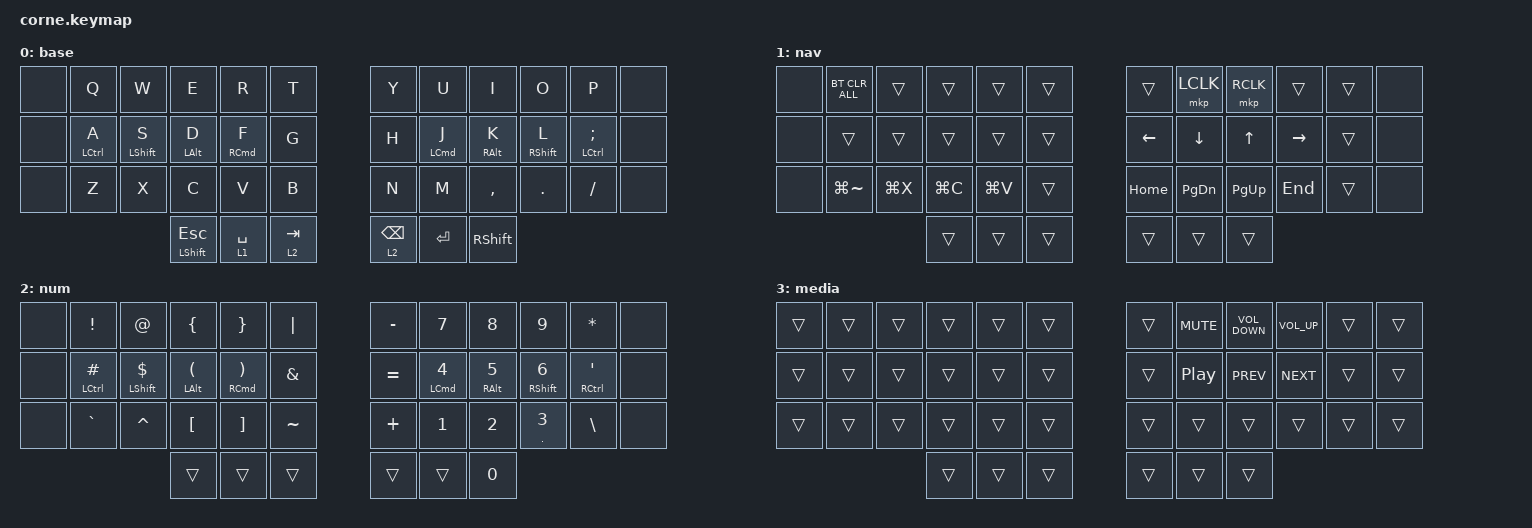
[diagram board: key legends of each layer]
/*
 * Copyright (c) 2020 The ZMK Contributors
 *
 * SPDX-License-Identifier: MIT
 */

#include <dt-bindings/zmk/mouse.h>
#include <behaviors.dtsi>
#include <dt-bindings/zmk/bt.h>
#include <dt-bindings/zmk/keys.h>
#include <dt-bindings/zmk/pointing.h>

&mt {
    flavor = "tap-preferred";
    tapping_term_ms = <200>;
};

&mmv {
    time-to-max-speed-ms = <680>;
    acceleration-exponent = <2>;
};

/ {
    behaviors {
        hmr: hmr {
            compatible = "zmk,behavior-hold-tap";
            label = "HMR";
            bindings = <&kp>, <&kp>;

            #binding-cells = <2>;
            tapping-term-ms = <280>;
            quick-tap-ms = <175>;
            flavor = "balanced";
            hold-trigger-on-release;
            hold-trigger-key-positions = <0 1 2 3 4 5 12 13 14 15 16 17 24 25 26 27 28 29 36 37 38 39 40 41>;
            require-prior-idle-ms = <150>;
        };

        hml: hml {
            compatible = "zmk,behavior-hold-tap";
            label = "HML";
            bindings = <&kp>, <&kp>;

            #binding-cells = <2>;
            tapping-term-ms = <280>;
            quick-tap-ms = <175>;
            flavor = "balanced";
            hold-trigger-on-release;
            hold-trigger-key-positions = <6 7 8 9 10 11 18 19 20 21 22 23 30 31 32 33 34 35 39 40 41 38 37 36>;
            require-prior-idle-ms = <150>;
        };
    };

    combos {
        compatible = "zmk,combos";

        caps-combo {
            bindings = <&caps_word>;
            key-positions = <16 19>;
        };

        kp_ {
            bindings = <&kp UNDERSCORE>;
            key-positions = <29 30>;
            layers = <2>;
        };
    };

    keymap {
        compatible = "zmk,keymap";

        base {
            // -----------------------------------------------------------------------------------------
            // |  TAB |  Q  |  W  |  E  |  R  |  T  |   |  Y  |  U   |  I  |  O  |  P  | BKSP |
            // | CTRL |  A  |  S  |  D  |  F  |  G  |   |  H  |  J   |  K  |  L  |  ;  |  '   |
            // | SHFT |  Z  |  X  |  C  |  V  |  B  |   |  N  |  M   |  ,  |  .  |  /  | ESC  |
            //                    | GUI | LWR | SPC |   | ENT | RSE  | ALT |

            bindings = <
&none  &kp Q                &kp W              &kp E                  &kp R                 &kp T        &kp Y            &kp U                &kp I             &kp O               &kp P                        &none
&none  &hml LEFT_CONTROL A  &hml LEFT_SHIFT S  &hml LEFT_ALT D        &hml RIGHT_COMMAND F  &kp G        &kp H            &hmr LEFT_COMMAND J  &hmr RIGHT_ALT K  &hmr RIGHT_SHIFT L  &hmr LEFT_CONTROL SEMICOLON  &none
&none  &kp Z                &kp X              &kp C                  &kp V                 &kp B        &kp N            &kp M                &kp COMMA         &kp DOT             &kp FSLH                     &none
                                               &mt LEFT_SHIFT ESCAPE  &lt 1 SPACE           &lt 2 TAB    &lt 2 BACKSPACE  &kp ENTER            &kp RIGHT_SHIFT
            >;
        };

        nav {
            // -----------------------------------------------------------------------------------------
            // |  TAB |  1  |  2  |  3  |  4  |  5  |   |  6  |  7  |  8  |  9  |  0  | BKSP |
            // | BTCLR| BT1 | BT2 | BT3 | BT4 | BT5 |   | LFT | DWN |  UP | RGT |     |      |
            // | SHFT |     |     |     |     |     |   |     |     |     |     |     |      |
            //                    | GUI |     | SPC |   | ENT |     | ALT |

            bindings = <
&none  &bt BT_CLR_ALL  &trans     &trans     &trans     &trans    &trans    &mkp LCLK      &mkp RCLK    &trans     &trans  &none
&none  &trans          &trans     &trans     &trans     &trans    &kp LEFT  &kp DOWN       &kp UP       &kp RIGHT  &trans  &none
&none  &kp LG(TILDE)   &kp LG(X)  &kp LG(C)  &kp LG(V)  &trans    &kp HOME  &kp PAGE_DOWN  &kp PAGE_UP  &kp END    &trans  &none
                                  &trans     &trans     &trans    &trans    &trans         &trans
            >;
        };

        num {
            // -----------------------------------------------------------------------------------------
            // |  TAB |  !  |  @  |  #  |  $  |  %  |   |  ^  |  &  |  *  |  (  |  )  | BKSP |
            // | CTRL |     |     |     |     |     |   |  -  |  =  |  [  |  ]  |  \  |  `   |
            // | SHFT |     |     |     |     |     |   |  _  |  +  |  {  |  }  | "|" |  ~   |
            //                    | GUI |     | SPC |   | ENT |     | ALT |

            bindings = <
&none  &kp EXCL                &kp AT              &kp LEFT_BRACE                  &kp RIGHT_BRACE          &kp PIPE         &kp MINUS  &kp N7                &kp N8             &kp N9          &kp ASTERISK            &none
&none  &hml LEFT_CONTROL HASH  &hml LSHIFT DOLLAR  &hml LEFT_ALT LEFT_PARENTHESIS  &hml RIGHT_COMMAND RPAR  &kp AMPERSAND    &kp EQUAL  &hml LEFT_COMMAND N4  &hml RIGHT_ALT N5  &hml RSHIFT N6  &hml RIGHT_CONTROL SQT  &none
&none  &kp GRAVE               &kp CARET           &kp LBKT                        &kp RBKT                 &kp TILDE        &kp PLUS   &kp NUMBER_1          &kp NUMBER_2       &mt PERIOD N3   &kp BACKSLASH           &none
                                                   &trans                          &trans                   &trans           &trans     &trans                &kp N0
            >;
        };

        media {
            bindings = <
&trans  &trans  &trans  &trans  &trans  &trans    &trans  &kp K_MUTE        &kp C_VOLUME_DOWN  &kp C_VOLUME_UP  &trans  &trans
&trans  &trans  &trans  &trans  &trans  &trans    &trans  &kp C_PLAY_PAUSE  &kp C_PREV         &kp C_NEXT       &trans  &trans
&trans  &trans  &trans  &trans  &trans  &trans    &trans  &trans            &trans             &trans           &trans  &trans
                        &trans  &trans  &trans    &trans  &trans            &trans
            >;
        };
    };
};
